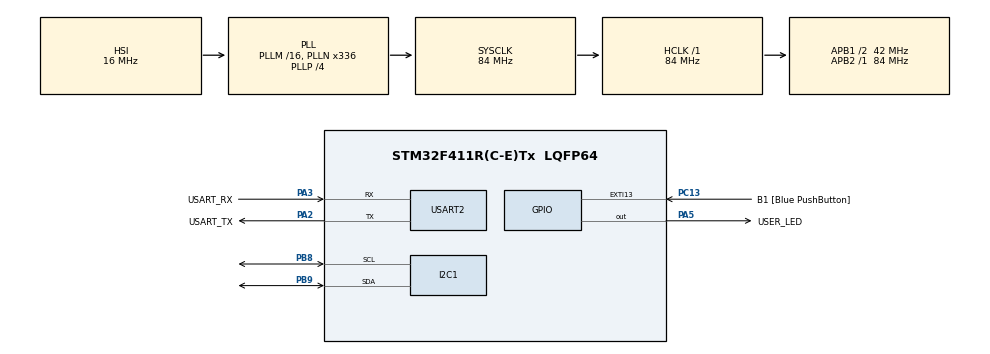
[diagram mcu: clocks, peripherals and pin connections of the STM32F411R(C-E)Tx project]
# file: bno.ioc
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Mcu.Family=STM32F4
Mcu.Name=STM32F411R(C-E)Tx
Mcu.Package=LQFP64
NVIC.PriorityGroup=NVIC_PRIORITYGROUP_0
PA13.GPIO_Label=TMS
PA13.Mode=Serial_Wire
PA13.Signal=SYS_JTMS-SWDIO
PA14.GPIO_Label=TCK
PA14.Mode=Serial_Wire
PA14.Signal=SYS_JTCK-SWCLK
PA2.GPIO_Label=USART_TX
PA2.Mode=Asynchronous
PA2.Signal=USART2_TX
PA3.GPIO_Label=USART_RX
PA3.Mode=Asynchronous
PA3.Signal=USART2_RX
PA5.GPIO_Label=USER_LED
PA5.Signal=GPIO_Output
PB3.GPIO_Label=SWO
PB3.Signal=SYS_JTDO-SWO
PB8.Mode=I2C
PB8.Signal=I2C1_SCL
PB9.Mode=I2C
PB9.Signal=I2C1_SDA
PC13-ANTI_TAMP.GPIO_Label=B1 [Blue PushButton]
PC13-ANTI_TAMP.GPIO_ModeDefaultEXTI=GPIO_MODE_IT_FALLING
PC13-ANTI_TAMP.Signal=GPXTI13
PC14-OSC32_IN.Mode=LSE-External-Oscillator
PC14-OSC32_IN.Signal=RCC_OSC32_IN
PC15-OSC32_OUT.Mode=LSE-External-Oscillator
PC15-OSC32_OUT.Signal=RCC_OSC32_OUT
PH0\ -\ OSC_IN.Mode=HSE-External-Clock-Source
PH0\ -\ OSC_IN.Signal=RCC_OSC_IN
PH1\ -\ OSC_OUT.Mode=HSE-External-Clock-Source
PH1\ -\ OSC_OUT.Signal=RCC_OSC_OUT
ProjectManager.HeapSize=0x200
ProjectManager.StackSize=0x400
ProjectManager.TargetToolchain=STM32CubeIDE
RCC.48MHZClocksFreq_Value=84000000
RCC.AHBFreq_Value=84000000
RCC.APB1CLKDivider=RCC_HCLK_DIV2
RCC.APB1Freq_Value=42000000
RCC.APB1TimFreq_Value=84000000
RCC.APB2Freq_Value=84000000
RCC.APB2TimFreq_Value=84000000
RCC.CortexFreq_Value=84000000
RCC.FLatency-AdvancedSettings=FLASH_LATENCY_2
RCC.HCLKFreq_Value=84000000
RCC.HSE_VALUE=8000000
RCC.HSI_VALUE=16000000
RCC.PLLN=336
RCC.PLLP=RCC_PLLP_DIV4
RCC.SYSCLKFreq_VALUE=84000000
RCC.SYSCLKSource=RCC_SYSCLKSOURCE_PLLCLK
RCC.VCOOutputFreq_Value=336000000
USART2.VirtualMode=VM_ASYNC
board=NUCLEO-F411RE

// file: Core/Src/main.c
/* USER CODE BEGIN Header */
/**
  ******************************************************************************
  * @file           : main.c
  * @brief          : Main program body
  ******************************************************************************
  * @attention
  *
  * Copyright (c) 2024 STMicroelectronics.
  * All rights reserved.
  *
  * This software is licensed under terms that can be found in the LICENSE file
  * in the root directory of this software component.
  * If no LICENSE file comes with this software, it is provided AS-IS.
  *
  ******************************************************************************
  */
/* USER CODE END Header */
#include "main.h"

/* USER CODE BEGIN Includes */
#include <stdlib.h>
#include <stdio.h>
#include "bno055.h"
#include "bno_config.h"
/* USER CODE END Includes */

I2C_HandleTypeDef hi2c1;

UART_HandleTypeDef huart2;

/* USER CODE BEGIN PV */
uint8_t count = 0;
bno055_t bno;
error_bno err;
/* USER CODE END PV */

void SystemClock_Config(void);
static void MX_GPIO_Init(void);
static void MX_USART2_UART_Init(void);
static void MX_I2C1_Init(void);

int main(void)
{

  /* MCU Configuration--------------------------------------------------------*/

  /* Reset of all peripherals, Initializes the Flash interface and the Systick. */
  HAL_Init();

  /* Configure the system clock */
  SystemClock_Config();

  /* Initialize all configured peripherals */
  MX_GPIO_Init();
  MX_USART2_UART_Init();
  MX_I2C1_Init();
  /* USER CODE BEGIN 2 */

  bno = (bno055_t){
          .i2c = &hi2c1, .addr = BNO_ADDR, .mode = BNO_MODE_IMU, ._temp_unit = 0,
          // .ptr = &bno,
      };
      HAL_Delay(1000);

      if ((err = bno055_init(&bno)) == BNO_OK) {
              printf("[+] BNO055 init success\r\n");
              HAL_Delay(100);
          } else {
              printf("[!] BNO055 init failed\r\n");
              printf("%s\n", bno055_err_str(err));
              Error_Handler();
          }
          HAL_Delay(100);
          err = bno055_set_unit(&bno, BNO_TEMP_UNIT_C, BNO_GYR_UNIT_DPS,
                                BNO_ACC_UNITSEL_M_S2, BNO_EUL_UNIT_DEG);
          if (err != BNO_OK) {
              printf("[BNO] Failed to set units. Err: %d\r\n", err);
          } else {
              printf("[BNO] Unit selection success\r\n");
          }

          HAL_Delay(1000);
          //s8 temperature = 0;
          //bno055_vec3_t acc = {0, 0, 0};
          bno055_euler_t eul = {0, 0, 0};

  /* USER CODE END 2 */

  /* Infinite loop */
  while (1)
  {

    /* USER CODE BEGIN 3 */
	  bno.euler(&bno, &eul);
	  printf("roll: %+2.2f  pitch: %+2.2f  yaw: %+2.2f\r\n", eul.roll, eul.pitch, eul.yaw);
	  fflush(stdout);
	  HAL_Delay(100);
  }
  /* USER CODE END 3 */
}

void SystemClock_Config(void)
{
  RCC_OscInitTypeDef RCC_OscInitStruct = {0};
  RCC_ClkInitTypeDef RCC_ClkInitStruct = {0};

  /** Configure the main internal regulator output voltage
  */
  __HAL_RCC_PWR_CLK_ENABLE();
  __HAL_PWR_VOLTAGESCALING_CONFIG(PWR_REGULATOR_VOLTAGE_SCALE1);

  /** Initializes the RCC Oscillators according to the specified parameters
  * in the RCC_OscInitTypeDef structure.
  */
  RCC_OscInitStruct.OscillatorType = RCC_OSCILLATORTYPE_HSI;
  RCC_OscInitStruct.HSIState = RCC_HSI_ON;
  RCC_OscInitStruct.HSICalibrationValue = RCC_HSICALIBRATION_DEFAULT;
  RCC_OscInitStruct.PLL.PLLState = RCC_PLL_ON;
  RCC_OscInitStruct.PLL.PLLSource = RCC_PLLSOURCE_HSI;
  RCC_OscInitStruct.PLL.PLLM = 16;
  RCC_OscInitStruct.PLL.PLLN = 336;
  RCC_OscInitStruct.PLL.PLLP = RCC_PLLP_DIV4;
  RCC_OscInitStruct.PLL.PLLQ = 4;
  if (HAL_RCC_OscConfig(&RCC_OscInitStruct) != HAL_OK)
  {
    Error_Handler();
  }

  /** Initializes the CPU, AHB and APB buses clocks
  */
  RCC_ClkInitStruct.ClockType = RCC_CLOCKTYPE_HCLK|RCC_CLOCKTYPE_SYSCLK
                              |RCC_CLOCKTYPE_PCLK1|RCC_CLOCKTYPE_PCLK2;
  RCC_ClkInitStruct.SYSCLKSource = RCC_SYSCLKSOURCE_PLLCLK;
  RCC_ClkInitStruct.AHBCLKDivider = RCC_SYSCLK_DIV1;
  RCC_ClkInitStruct.APB1CLKDivider = RCC_HCLK_DIV2;
  RCC_ClkInitStruct.APB2CLKDivider = RCC_HCLK_DIV1;

  if (HAL_RCC_ClockConfig(&RCC_ClkInitStruct, FLASH_LATENCY_2) != HAL_OK)
  {
    Error_Handler();
  }
}

static void MX_I2C1_Init(void)
{

  hi2c1.Instance = I2C1;
  hi2c1.Init.ClockSpeed = 100000;
  hi2c1.Init.DutyCycle = I2C_DUTYCYCLE_2;
  hi2c1.Init.OwnAddress1 = 0;
  hi2c1.Init.AddressingMode = I2C_ADDRESSINGMODE_7BIT;
  hi2c1.Init.DualAddressMode = I2C_DUALADDRESS_DISABLE;
  hi2c1.Init.OwnAddress2 = 0;
  hi2c1.Init.GeneralCallMode = I2C_GENERALCALL_DISABLE;
  hi2c1.Init.NoStretchMode = I2C_NOSTRETCH_DISABLE;
  if (HAL_I2C_Init(&hi2c1) != HAL_OK)
  {
    Error_Handler();
  }

}

static void MX_USART2_UART_Init(void)
{

  huart2.Instance = USART2;
  huart2.Init.BaudRate = 115200;
  huart2.Init.WordLength = UART_WORDLENGTH_8B;
  huart2.Init.StopBits = UART_STOPBITS_1;
  huart2.Init.Parity = UART_PARITY_NONE;
  huart2.Init.Mode = UART_MODE_TX_RX;
  huart2.Init.HwFlowCtl = UART_HWCONTROL_NONE;
  huart2.Init.OverSampling = UART_OVERSAMPLING_16;
  if (HAL_UART_Init(&huart2) != HAL_OK)
  {
    Error_Handler();
  }

}

static void MX_GPIO_Init(void)
{
  GPIO_InitTypeDef GPIO_InitStruct = {0};

  /* GPIO Ports Clock Enable */
  __HAL_RCC_GPIOC_CLK_ENABLE();
  __HAL_RCC_GPIOH_CLK_ENABLE();
  __HAL_RCC_GPIOA_CLK_ENABLE();
  __HAL_RCC_GPIOB_CLK_ENABLE();

  /*Configure GPIO pin Output Level */
  HAL_GPIO_WritePin(USER_LED_GPIO_Port, USER_LED_Pin, GPIO_PIN_RESET);

  /*Configure GPIO pin : B1_Pin */
  GPIO_InitStruct.Pin = B1_Pin;
  GPIO_InitStruct.Mode = GPIO_MODE_IT_FALLING;
  GPIO_InitStruct.Pull = GPIO_NOPULL;
  HAL_GPIO_Init(B1_GPIO_Port, &GPIO_InitStruct);

  /*Configure GPIO pin : USER_LED_Pin */
  GPIO_InitStruct.Pin = USER_LED_Pin;
  GPIO_InitStruct.Mode = GPIO_MODE_OUTPUT_PP;
  GPIO_InitStruct.Pull = GPIO_NOPULL;
  GPIO_InitStruct.Speed = GPIO_SPEED_FREQ_LOW;
  HAL_GPIO_Init(USER_LED_GPIO_Port, &GPIO_InitStruct);

}

/* USER CODE BEGIN 4 */
int _write(int file, char *ptr, int len)
{
  (void)file;
  int DataIdx;

  for (DataIdx = 0; DataIdx < len; DataIdx++)
  {
    ITM_SendChar(*ptr++);
  }
  return len;
}
/* USER CODE END 4 */

void Error_Handler(void)
{
  __disable_irq();
  while (1)
  {
  }
}
